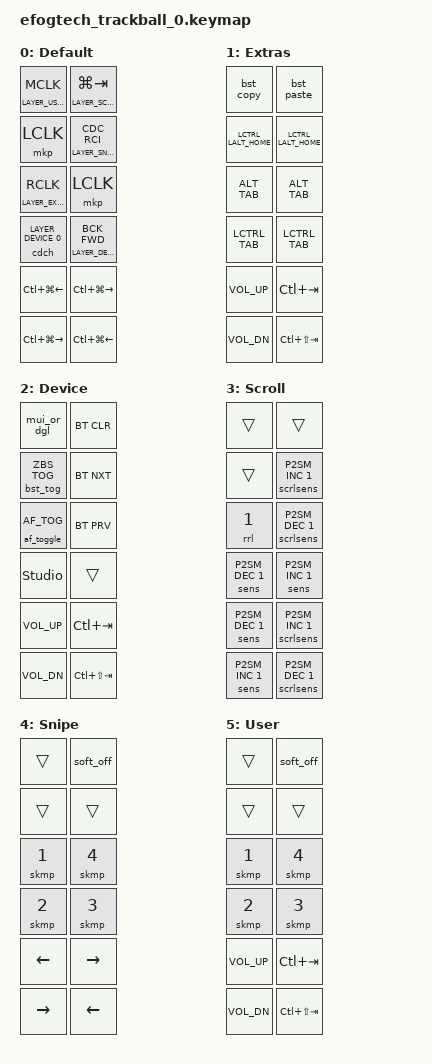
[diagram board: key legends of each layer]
#include <behaviors.dtsi>
#include <dt-bindings/zmk/bt.h>
#include <dt-bindings/zmk/keys.h>
#include <dt-bindings/zmk/pointing.h>
#include <dt-bindings/zmk/outputs.h>
#include <dt-bindings/zmk/adaptive_feedback.h>
#include <dt-bindings/zmk/bistable_behavior.h>
#include <dt-bindings/zmk/p2sm.h>

#ifndef LAYER_DEFAULT
#define LAYER_DEFAULT      0
#define LAYER_EXTRAS       1
#define LAYER_DEVICE       2
#define LAYER_SCROLL       3
#define LAYER_SNIPE        4
#define LAYER_USER         5
#endif

/ {
	keymap {
		compatible = "zmk,keymap";

		default_layer {
			display-name = "Default";
			DECLARE_ENCODERS;
			bindings = <
			    // buttons
			    &ltm LAYER_USER MCLK 		&ltmkp LAYER_SCROLL LG(TAB)
			    &mkp LCLK                 	&CDCH_RCI LAYER_SNIPE 0
			    &ltm LAYER_EXTRAS RCLK    	&mkp LCLK
			    &cdch LAYER_DEVICE 0     	&BCK_FWD_HOLD LAYER_DEVICE 0

			    // rotary encoders
			    &kp LC(LG(LEFT))			&kp LC(LG(RIGHT))
			    &kp LC(LG(RIGHT))           &kp LC(LG(LEFT))
		    >;
		};

// default Efog settings
//		default_layer {
//			display-name = "Default";
//			DECLARE_ENCODERS;
//			bindings = <
//			    // buttons
//			    &ltmkp LAYER_SNIPE ENTER  &ltmkp LAYER_SCROLL ESC
//			    &mkp MCLK                 &cdch LAYER_SCROLL 0
//			    &mkp LCLK                 &mkp RCLK
//			    &ltm LAYER_EXTRAS MB4     &ltm LAYER_DEVICE MB5
//
//			    // rotary encoders
//			    &kp C_VOL_UP              &kp LC(TAB)
//			    &kp C_VOL_DN              &kp LC(LS(TAB))
//		    >;
//		};		

		layer1 {
			display-name = "Extras";
			DECLARE_ENCODERS;
			bindings = <
			    &bst_copy      	&bst_paste
			    &LCTRL_LALT_HOME       &LCTRL_LALT_HOME
			    &ALT_TAB      	&ALT_TAB
			    &LCTRL_TAB      &LCTRL_TAB

			    &kp C_VOL_UP   &kp LC(TAB)
			    &kp C_VOL_DN   &kp LC(LS(TAB))
	   		>;
		};

		layer2 {
			display-name = "Device";
			DECLARE_ENCODERS;
			bindings = <
			    &mui_or_dgl          &bt BT_CLR
			    &bst_tog ZBS_TOG     &bt BT_NXT
			    &af_toggle AF_TOG    &bt BT_PRV
			    &studio_unlock       &trans

			    &kp C_VOL_UP         &kp LC(TAB)
			    &kp C_VOL_DN         &kp LC(LS(TAB))
		   	>;
		};

		layer3 {
			display-name = "Scroll";
			DECLARE_ENCODERS;
			bindings = <
			    &trans              &trans
			    &trans              &scrlsens P2SM_INC 1
			    &rrl 1              &scrlsens P2SM_DEC 1
			    &sens P2SM_DEC 1    &sens P2SM_INC 1

			    &sens P2SM_DEC 1    &scrlsens P2SM_INC 1
			    &sens P2SM_INC 1    &scrlsens P2SM_DEC 1
		  	>;
		};

		layer4 {
			display-name = "Snipe";
			DECLARE_ENCODERS;
			bindings = <
			    &trans           &soft_off
			    &trans           &trans
			    &skmp 1          &skmp 4
			    &skmp 2          &skmp 3

			    &kp LEFT         &kp RIGHT
			    &kp RIGHT        &kp LEFT
	   		>;
		};

		layer5 {
			display-name = "User";
			DECLARE_ENCODERS;
			bindings = <
				&trans        &soft_off
				&trans        &trans
				&skmp 1       &skmp 4
			    &skmp 2       &skmp 3


				&kp C_VOL_UP  &kp LC(TAB)
				&kp C_VOL_DN  &kp LC(LS(TAB))
		    >;
		};
	};

	trackball {
		input-processors = <&zip_bistable_twist_scaler>,
						   <&zip_pointer_accel>, <&zip_scroll_accel>, <&zip_rotate_pointer>,
		                   <&esb_ip>, <&zip_ble_report_rate_limit>;

		scroll {
			layers = <LAYER_SCROLL>;
			input-processors = <&zip_bistable_scroll_xy_scaler>, <&zip_axis_clamper>,
							   <&zip_xy_to_scroll_mapper>, <&zip_scroll_transform INPUT_TRANSFORM_Y_INVERT>,
							   <&zip_dragscroll_accel>, <&zip_rotate_scroll>,
							   <&esb_ip>, <&zip_ble_report_rate_limit>;
		};

		snipe {
			layers = <LAYER_SNIPE>;
			input-processors = <&zip_bistable_snipe_scaler>, <&zip_rotate_pointer>,
							   <&esb_ip>, <&zip_ble_report_rate_limit>;
		};
	};

	behaviors {
		CDCH_RCI: click_double_click_hold_rci {
			compatible = "zmk,behavior-hold-tap";
			display-name = "Paste/Copy/Layer (click/double-click/hold)";
			#binding-cells = <2>;
			flavor = "tap-preferred";
			tapping-term-ms = <300>;
			bindings = <&mo>, <&CDC_RCI>;
		};

		CDC_RCI: click_double_click_rci {
			compatible = "zmk,behavior-tap-dance";
			display-name = "Paste/Copy (click/double-click)";
			#binding-cells = <0>;
			tapping-term-ms = <300>;
			bindings = <&kp LG(V)>, <&kp LC(C)>;
		};

		BCK_FWD: bck_fwd {
			compatible = "zmk,behavior-tap-dance";
			display-name = "Back/Forward (tap/double-tap)";
			#binding-cells = <0>;
			tapping-term-ms = <300>;
			bindings = <&mkp MB4>, <&mkp MB5>;
		};

		BCK_FWD_HOLD: bck_fwd_hold {
			compatible = "zmk,behavior-hold-tap";
			display-name = "Back/Forward/Layer (click/double-click/hold)";
			#binding-cells = <2>;
			flavor = "tap-preferred";
			tapping-term-ms = <300>;
			bindings = <&mo>, <&BCK_FWD>;
		};		
	};

	macros {
		ALT_TAB: alt_tab {
            compatible = "zmk,behavior-macro";
            #binding-cells = <0>;
            bindings
                = <&macro_press &kp LALT>
                , <&macro_tap &kp TAB>
                , <&macro_pause_for_release>
                , <&macro_release &kp LALT>;
        };

		LCTRL_TAB: lctrl_tab {
            compatible = "zmk,behavior-macro";
            #binding-cells = <0>;
            bindings
                = <&macro_press &kp LCTRL>
                , <&macro_tap &kp TAB>
                , <&macro_pause_for_release>
                , <&macro_release &kp LCTRL>;
        };	

		LCTRL_LALT_HOME: lctrl_lalt_home {
            compatible = "zmk,behavior-macro";
            #binding-cells = <0>;
            bindings
                = <&macro_press &kp LCTRL>
				, <&macro_press &kp LALT>
                , <&macro_tap &kp HOME>
                , <&macro_pause_for_release>
				, <&macro_release &kp LALT>
                , <&macro_release &kp LCTRL>;
        };		
	};	
};
